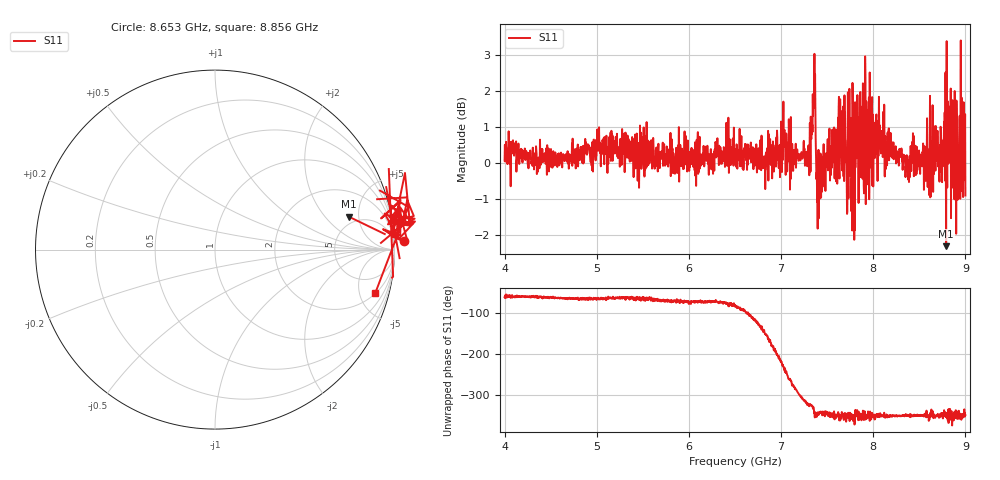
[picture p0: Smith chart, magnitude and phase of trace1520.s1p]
! Created with skrf 1.8.0 (http://scikit-rf.org).
# Hz S RI R 50.0
!freq ReS11 ImS11
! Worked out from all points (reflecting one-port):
!   1601 points, 4 GHz to 9 GHz, reference 50 ohm
!   lowest |S11| = -2.3 dB at 8.791 GHz (marker M1), VSWR 7.61, Z = 208 + j186 ohm
!   phase of S11 starts at -61 deg and turns -289 deg over the sweep
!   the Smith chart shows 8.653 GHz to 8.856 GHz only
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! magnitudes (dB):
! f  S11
! 4 GHz  0.1
! 4.625 GHz  -0.1
! 5.25 GHz  -0.1
! 5.875 GHz  0.0
! 6.5 GHz  0.3
! 6.816 GHz  0.2
! 6.988 GHz  -0.4
! 7.022 GHz  1.0
! 7.125 GHz  0.1
! 7.284 GHz  -0.1
! 7.316 GHz  0.7
! 7.347 GHz  1.3
! 7.409 GHz  -1.5
! 7.503 GHz  0.4
! 7.591 GHz  0.4
! 7.628 GHz  1.8
! 7.75 GHz  -0.3
! 7.775 GHz  2.2
! 7.834 GHz  0.8
! 7.928 GHz  0.9
! 7.981 GHz  -0.1
! 8.05 GHz  1.2
! 8.375 GHz  0.0
! 8.728 GHz  -0.2
! 8.791 GHz  -2.3
! 8.919 GHz  -0.3
! 8.972 GHz  0.1
! 9 GHz  -0.9
